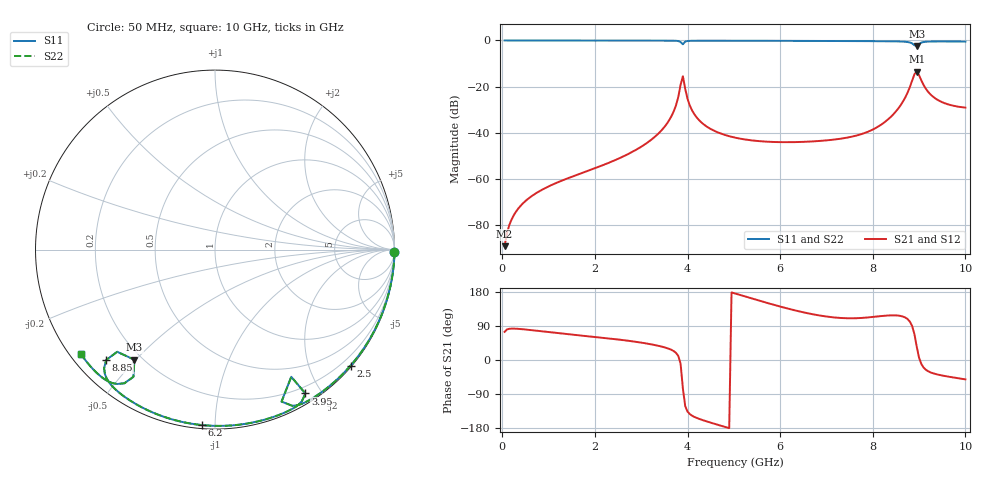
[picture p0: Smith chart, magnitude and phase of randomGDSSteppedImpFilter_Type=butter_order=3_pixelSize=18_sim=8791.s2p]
! freq	dB(S11)	phase(S11)	dB(S12)	phase(S12)
!  dB(S21)	phase(S21)	dB(S22)	phase(S22)
!S-par simulation data
#  GHz  S  DB  R 50
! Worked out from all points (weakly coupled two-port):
!   200 points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, 50 MHz to 10 GHz, reference 50 ohm
!   highest |S21| = -13.48 dB at 8.95 GHz (marker M1); lowest = -89.0 dB at 50 MHz (marker M2)
!   lowest |S11| = -2.4 dB at 8.95 GHz (marker M3), VSWR 7.35, Z = 8.51 - j24.8 ohm
!   |S11| at or under -10 dB: nowhere
!   |S22| runs from -2.4 to 0.0 dB; largest |S21 - S12| = 0
!   S11 on the Smith chart (normalised r, x): 50 MHz: open; 2.5 GHz: 0.02, -2.71; 3.95 GHz: 0.12, -1.80; 6.2 GHz: 0.02, -0.93; 8.85 GHz: 0.09, -0.42; 10 GHz: 0.03, -0.34
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0.05  -0.00 -0.8  -89.01 74.3  -89.01 74.3  -0.00 -0.8
0.15  -0.00 -2.5  -79.95 82.3  -79.95 82.3  -0.00 -2.5
0.65  -0.01 -10.8  -67.13 78.5  -67.13 78.5  -0.01 -10.8
1.75  -0.04 -28.6  -57.13 63.9  -57.13 63.9  -0.04 -28.6
2.5  -0.05 -40.6  -51.23 54.1  -51.23 54.1  -0.05 -40.6
3.4  -0.08 -54.9  -39.71 36.6  -39.71 36.6  -0.08 -54.9
3.7  -0.12 -60.5  -30.77 23.7  -30.77 23.7  -0.12 -60.5
3.9  -1.66 -59.1  -15.47 -75.3  -15.47 -75.3  -1.66 -59.1
3.95  -0.48 -57.9  -20.94 -121.9  -20.94 -121.9  -0.48 -57.9
4.1  -0.13 -63.0  -30.33 -147.1  -30.33 -147.1  -0.13 -63.0
4.3  -0.11 -66.7  -35.48 -157.5  -35.48 -157.5  -0.11 -66.7
5.05  -0.12 -78.0  -42.15 174.7  -42.15 174.7  -0.12 -78.0
6.2  -0.17 -94.1  -44.02 134.6  -44.02 134.6  -0.17 -94.1
6.7  -0.20 -100.9  -43.69 120.8  -43.69 120.8  -0.20 -100.9
7.7  -0.27 -114.3  -40.86 110.5  -40.86 110.5  -0.27 -114.3
8.35  -0.36 -123.5  -33.80 117.6  -33.80 117.6  -0.36 -123.5
8.65  -0.50 -128.9  -26.50 114.7  -26.50 114.7  -0.50 -128.9
8.85  -1.28 -134.6  -17.41 89.7  -17.41 89.7  -1.28 -134.6
8.95  -2.38 -126.2  -13.48 34.7  -13.48 34.7  -2.38 -126.2
9.05  -0.91 -124.1  -17.36 -11.0  -17.36 -11.0  -0.91 -124.1
9.35  -0.43 -132.2  -25.07 -36.8  -25.07 -36.8  -0.43 -132.2
10  -0.47 -142.0  -29.07 -51.2  -29.07 -51.2  -0.47 -142.0
